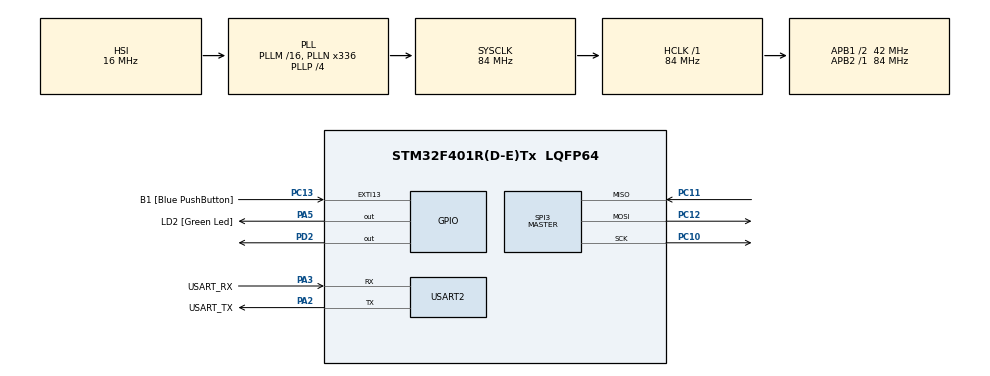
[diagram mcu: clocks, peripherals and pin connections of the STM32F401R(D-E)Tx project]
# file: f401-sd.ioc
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Mcu.Family=STM32F4
Mcu.Name=STM32F401R(D-E)Tx
Mcu.Package=LQFP64
NVIC.PriorityGroup=NVIC_PRIORITYGROUP_0
PA13.GPIO_Label=TMS
PA13.Mode=Serial_Wire
PA13.Signal=SYS_JTMS-SWDIO
PA14.GPIO_Label=TCK
PA14.Mode=Serial_Wire
PA14.Signal=SYS_JTCK-SWCLK
PA2.GPIO_Label=USART_TX
PA2.GPIO_Mode=GPIO_MODE_AF_PP
PA2.GPIO_PuPd=GPIO_NOPULL
PA2.GPIO_Speed=GPIO_SPEED_FREQ_LOW
PA2.Mode=Asynchronous
PA2.Signal=USART2_TX
PA3.GPIO_Label=USART_RX
PA3.GPIO_Mode=GPIO_MODE_AF_PP
PA3.GPIO_PuPd=GPIO_NOPULL
PA3.GPIO_Speed=GPIO_SPEED_FREQ_LOW
PA3.Mode=Asynchronous
PA3.Signal=USART2_RX
PA5.GPIO_Label=LD2 [Green Led]
PA5.GPIO_Mode=GPIO_MODE_OUTPUT_PP
PA5.GPIO_PuPd=GPIO_NOPULL
PA5.GPIO_Speed=GPIO_SPEED_FREQ_LOW
PA5.Signal=GPIO_Output
PB3.GPIO_Label=SWO
PB3.Signal=SYS_JTDO-SWO
PC10.GPIO_PuPd=GPIO_PULLUP
PC10.Mode=Full_Duplex_Master
PC10.Signal=SPI3_SCK
PC11.GPIO_PuPd=GPIO_PULLUP
PC11.Mode=Full_Duplex_Master
PC11.Signal=SPI3_MISO
PC12.GPIO_PuPd=GPIO_PULLUP
PC12.Mode=Full_Duplex_Master
PC12.Signal=SPI3_MOSI
PC13-ANTI_TAMP.GPIO_Label=B1 [Blue PushButton]
PC13-ANTI_TAMP.GPIO_ModeDefaultEXTI=GPIO_MODE_IT_FALLING
PC13-ANTI_TAMP.GPIO_PuPd=GPIO_NOPULL
PC13-ANTI_TAMP.Signal=GPXTI13
PC14-OSC32_IN.Mode=LSE-External-Oscillator
PC14-OSC32_IN.Signal=RCC_OSC32_IN
PC15-OSC32_OUT.Mode=LSE-External-Oscillator
PC15-OSC32_OUT.Signal=RCC_OSC32_OUT
PD2.Signal=GPIO_Output
PH0\ -\ OSC_IN.Mode=HSE-External-Clock-Source
PH0\ -\ OSC_IN.Signal=RCC_OSC_IN
PH1\ -\ OSC_OUT.Mode=HSE-External-Clock-Source
PH1\ -\ OSC_OUT.Signal=RCC_OSC_OUT
ProjectManager.HeapSize=0x200
ProjectManager.StackSize=0x400
ProjectManager.TargetToolchain=STM32CubeIDE
RCC.48MHZClocksFreq_Value=48000000
RCC.AHBFreq_Value=84000000
RCC.APB1CLKDivider=RCC_HCLK_DIV2
RCC.APB1Freq_Value=42000000
RCC.APB1TimFreq_Value=84000000
RCC.APB2Freq_Value=84000000
RCC.APB2TimFreq_Value=84000000
RCC.CortexFreq_Value=84000000
RCC.HCLKFreq_Value=84000000
RCC.HSE_VALUE=8000000
RCC.HSI_VALUE=16000000
RCC.PLLN=336
RCC.PLLP=RCC_PLLP_DIV4
RCC.PLLQ=7
RCC.SYSCLKFreq_VALUE=84000000
RCC.SYSCLKSource=RCC_SYSCLKSOURCE_PLLCLK
RCC.VCOOutputFreq_Value=336000000
SPI3.BaudRatePrescaler=SPI_BAUDRATEPRESCALER_8
SPI3.Direction=SPI_DIRECTION_2LINES
SPI3.Mode=SPI_MODE_MASTER
SPI3.VirtualType=VM_MASTER
USART2.VirtualMode=VM_ASYNC
VP_FATFS_VS_Generic.Mode=User_defined
board=NUCLEO-F401RE

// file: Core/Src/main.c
/* USER CODE BEGIN Header */
/**
  ******************************************************************************
  * @file           : main.c
  * @brief          : Main program body
  ******************************************************************************
  * @attention
  *
  * <h2><center>&copy; Copyright (c) 2020 STMicroelectronics.
  * All rights reserved.</center></h2>
  *
  * This software component is licensed by ST under BSD 3-Clause license,
  * the "License"; You may not use this file except in compliance with the
  * License. You may obtain a copy of the License at:
  *                        opensource.org/licenses/BSD-3-Clause
  *
  ******************************************************************************
  */
/* USER CODE END Header */

#include "main.h"
#include "fatfs.h"

/* USER CODE BEGIN Includes */
#include <string.h>
#include <stdarg.h>

/* USER CODE END Includes */

SPI_HandleTypeDef hspi3;

UART_HandleTypeDef huart2;

void SystemClock_Config(void);
static void MX_GPIO_Init(void);
static void MX_USART2_UART_Init(void);
static void MX_SPI3_Init(void);

/* USER CODE BEGIN 0 */

//  FATfs
/////////////////////////
FATFS FatFs;
//File object
FIL fil;
// Результат операций над SD картой
FRESULT fres;
// Для записи
UINT bytesWrote;
// Для чтения
UINT bytesRead;
/////////////////////////
// Массив чтения с SD
uint8_t BuffSDRead[50];
// Массив для записи количества созданых файлов на SD в файл InfoSD.txt
uint8_t BuffSDfileinfo[30]="\t\tFile info\nNumber of files:X;";
//Массив для записи данных на SD в  файл InfoSD.txt
uint8_t BufFileInfoWr[30];

void UART_Printf(const char* fmt, ...) {
    char buff[256];
    va_list args;
    va_start(args, fmt);
    vsnprintf(buff, sizeof(buff), fmt, args);
    HAL_UART_Transmit(&huart2, (uint8_t*)buff, strlen(buff), HAL_MAX_DELAY);
    va_end(args);
}

//void init() {
//    FATFS fs;
//    FRESULT res;
//    UART_Printf("Ready!\r\n");
//
//    // mount the default drive
//    res = f_mount(&fs, "", 0);
//    if(res != FR_OK) {
//        UART_Printf("f_mount() failed, res = %d\r\n", res);
//        return;
//    }
//
//    UART_Printf("f_mount() done!\r\n");
//
//    UART_Printf("Writing to log.txt...\r\n");
//
//      char writeBuff[128];
//      snprintf(writeBuff, sizeof(writeBuff), "Total blocks: \r\n");
//
//      FIL logFile;
//      res = f_open(&logFile, "log.txt", FA_OPEN_APPEND | FA_WRITE);
//      if(res != FR_OK) {
//          UART_Printf("f_open() failed, res = %d\r\n", res);
//          return;
//      }
//
//      unsigned int bytesToWrite = strlen(writeBuff);
//      unsigned int bytesWritten;
//      res = f_write(&logFile, writeBuff, bytesToWrite, &bytesWritten);
//      if(res != FR_OK) {
//          UART_Printf("f_write() failed, res = %d\r\n", res);
//          return;
//      }
//
//      if(bytesWritten < bytesToWrite) {
//          UART_Printf("WARNING! Disk is full, bytesToWrite = %lu, bytesWritten = %lu\r\n", bytesToWrite, bytesWritten);
//      }
//
//      res = f_close(&logFile);
//      if(res != FR_OK) {
//          UART_Printf("f_close() failed, res = %d\r\n", res);
//          return;
//      }
//}
// Запись в фаил  InfoSD.txt количество созданных файлов
void WriteNumofFileSD(uint8_t Num)
{
	FIL filInform;
	UINT bytesWroteInform;
	// Открываем или создаем новый файл
	fres = f_open(&filInform, "InfoSD.txt", FA_OPEN_ALWAYS | FA_WRITE);

	if(fres == FR_OK)
	{ // Если проблема с флешкой  выключаем 1 светодиод
	} else
	{
		HAL_GPIO_WritePin(GPIOC, GPIO_PIN_1, GPIO_PIN_SET);
		while(1);
	}
	//Записываем количество данных
	BuffSDfileinfo[28]=Num+'0';
	fres = f_write(&filInform, BuffSDfileinfo, 30, &bytesWroteInform);
	fres=f_close(&filInform);
	if(fres == FR_OK)
	{ // Если проблема с флешкой  выключаем 1 светодиод
	} else
	{
		HAL_GPIO_WritePin(GPIOC, GPIO_PIN_1, GPIO_PIN_SET);
		while(1);
	}
	HAL_GPIO_WritePin(GPIOC, GPIO_PIN_1, GPIO_PIN_RESET);
}

/* USER CODE END 0 */

int main(void)
{

  /* MCU Configuration--------------------------------------------------------*/

  /* Reset of all peripherals, Initializes the Flash interface and the Systick. */
  HAL_Init();

  /* Configure the system clock */
  SystemClock_Config();

  /* Initialize all configured peripherals */
  MX_GPIO_Init();
  MX_USART2_UART_Init();
  MX_SPI3_Init();
  MX_FATFS_Init();
  /* USER CODE BEGIN 2 */
  // Монтирование флешки
	fres = f_mount(&FatFs, "", 1); //1=mount now
	if (fres != FR_OK)
	{ // Если проблема с флешкой  выключаем 1 светодиод
		HAL_GPIO_WritePin(GPIOC, GPIO_PIN_1, GPIO_PIN_SET);
		while(1);
	}
	// Создание файла infoSD.txt
	WriteNumofFileSD(1);
	// Запись в историю информацию о подаче питания
  /* USER CODE END 2 */

  /* Infinite loop */
  while (1)
  {

  }
}

void SystemClock_Config(void)
{
  RCC_OscInitTypeDef RCC_OscInitStruct = {0};
  RCC_ClkInitTypeDef RCC_ClkInitStruct = {0};

  /** Configure the main internal regulator output voltage
  */
  __HAL_RCC_PWR_CLK_ENABLE();
  __HAL_PWR_VOLTAGESCALING_CONFIG(PWR_REGULATOR_VOLTAGE_SCALE2);
  /** Initializes the CPU, AHB and APB busses clocks
  */
  RCC_OscInitStruct.OscillatorType = RCC_OSCILLATORTYPE_HSI;
  RCC_OscInitStruct.HSIState = RCC_HSI_ON;
  RCC_OscInitStruct.HSICalibrationValue = RCC_HSICALIBRATION_DEFAULT;
  RCC_OscInitStruct.PLL.PLLState = RCC_PLL_ON;
  RCC_OscInitStruct.PLL.PLLSource = RCC_PLLSOURCE_HSI;
  RCC_OscInitStruct.PLL.PLLM = 16;
  RCC_OscInitStruct.PLL.PLLN = 336;
  RCC_OscInitStruct.PLL.PLLP = RCC_PLLP_DIV4;
  RCC_OscInitStruct.PLL.PLLQ = 7;
  if (HAL_RCC_OscConfig(&RCC_OscInitStruct) != HAL_OK)
  {
    Error_Handler();
  }
  /** Initializes the CPU, AHB and APB busses clocks
  */
  RCC_ClkInitStruct.ClockType = RCC_CLOCKTYPE_HCLK|RCC_CLOCKTYPE_SYSCLK
                              |RCC_CLOCKTYPE_PCLK1|RCC_CLOCKTYPE_PCLK2;
  RCC_ClkInitStruct.SYSCLKSource = RCC_SYSCLKSOURCE_PLLCLK;
  RCC_ClkInitStruct.AHBCLKDivider = RCC_SYSCLK_DIV1;
  RCC_ClkInitStruct.APB1CLKDivider = RCC_HCLK_DIV2;
  RCC_ClkInitStruct.APB2CLKDivider = RCC_HCLK_DIV1;

  if (HAL_RCC_ClockConfig(&RCC_ClkInitStruct, FLASH_LATENCY_2) != HAL_OK)
  {
    Error_Handler();
  }
}

static void MX_SPI3_Init(void)
{

  /* SPI3 parameter configuration*/
  hspi3.Instance = SPI3;
  hspi3.Init.Mode = SPI_MODE_MASTER;
  hspi3.Init.Direction = SPI_DIRECTION_2LINES;
  hspi3.Init.DataSize = SPI_DATASIZE_8BIT;
  hspi3.Init.CLKPolarity = SPI_POLARITY_LOW;
  hspi3.Init.CLKPhase = SPI_PHASE_1EDGE;
  hspi3.Init.NSS = SPI_NSS_SOFT;
  hspi3.Init.BaudRatePrescaler = SPI_BAUDRATEPRESCALER_8;
  hspi3.Init.FirstBit = SPI_FIRSTBIT_MSB;
  hspi3.Init.TIMode = SPI_TIMODE_DISABLE;
  hspi3.Init.CRCCalculation = SPI_CRCCALCULATION_DISABLE;
  hspi3.Init.CRCPolynomial = 10;
  if (HAL_SPI_Init(&hspi3) != HAL_OK)
  {
    Error_Handler();
  }

}

static void MX_USART2_UART_Init(void)
{

  huart2.Instance = USART2;
  huart2.Init.BaudRate = 115200;
  huart2.Init.WordLength = UART_WORDLENGTH_8B;
  huart2.Init.StopBits = UART_STOPBITS_1;
  huart2.Init.Parity = UART_PARITY_NONE;
  huart2.Init.Mode = UART_MODE_TX_RX;
  huart2.Init.HwFlowCtl = UART_HWCONTROL_NONE;
  huart2.Init.OverSampling = UART_OVERSAMPLING_16;
  if (HAL_UART_Init(&huart2) != HAL_OK)
  {
    Error_Handler();
  }

}

static void MX_GPIO_Init(void)
{
  GPIO_InitTypeDef GPIO_InitStruct = {0};

  /* GPIO Ports Clock Enable */
  __HAL_RCC_GPIOC_CLK_ENABLE();
  __HAL_RCC_GPIOH_CLK_ENABLE();
  __HAL_RCC_GPIOA_CLK_ENABLE();
  __HAL_RCC_GPIOD_CLK_ENABLE();
  __HAL_RCC_GPIOB_CLK_ENABLE();

  /*Configure GPIO pin Output Level */
  HAL_GPIO_WritePin(LD2_GPIO_Port, LD2_Pin, GPIO_PIN_RESET);

  /*Configure GPIO pin Output Level */
  HAL_GPIO_WritePin(GPIOD, GPIO_PIN_2, GPIO_PIN_RESET);

  /*Configure GPIO pin : B1_Pin */
  GPIO_InitStruct.Pin = B1_Pin;
  GPIO_InitStruct.Mode = GPIO_MODE_IT_FALLING;
  GPIO_InitStruct.Pull = GPIO_NOPULL;
  HAL_GPIO_Init(B1_GPIO_Port, &GPIO_InitStruct);

  /*Configure GPIO pin : LD2_Pin */
  GPIO_InitStruct.Pin = LD2_Pin;
  GPIO_InitStruct.Mode = GPIO_MODE_OUTPUT_PP;
  GPIO_InitStruct.Pull = GPIO_NOPULL;
  GPIO_InitStruct.Speed = GPIO_SPEED_FREQ_LOW;
  HAL_GPIO_Init(LD2_GPIO_Port, &GPIO_InitStruct);

  /*Configure GPIO pin : PD2 */
  GPIO_InitStruct.Pin = GPIO_PIN_2;
  GPIO_InitStruct.Mode = GPIO_MODE_OUTPUT_PP;
  GPIO_InitStruct.Pull = GPIO_NOPULL;
  GPIO_InitStruct.Speed = GPIO_SPEED_FREQ_LOW;
  HAL_GPIO_Init(GPIOD, &GPIO_InitStruct);

}

void Error_Handler(void)
{
}

/************************ (C) COPYRIGHT STMicroelectronics *****END OF FILE****/
